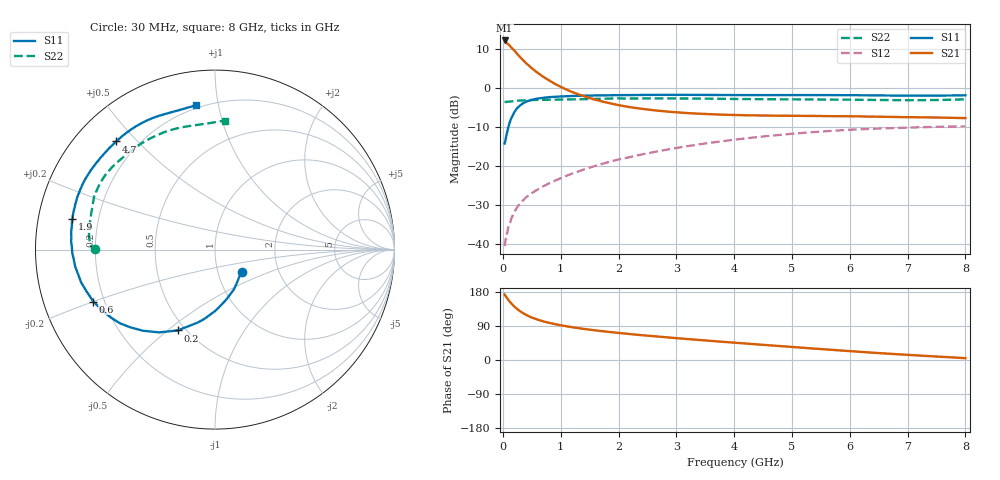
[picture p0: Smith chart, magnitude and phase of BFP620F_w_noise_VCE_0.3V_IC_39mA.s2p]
! Infineon Technologies  Discrete & RF Semiconductors
! BFP620F
! VCE =  0.3 V,  IC =  39 mA
! Common Emitter S-Parameters:  Dec 2014
# GHz  S  MA  R  50
!  f  S11  S21  S12  S22
! GHz  MAG  ANG  MAG  ANG  MAG  ANG  MAG  ANG
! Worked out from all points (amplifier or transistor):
!   95 points, 30 MHz to 8 GHz, reference 50 ohm
!   highest |S21| = 12.3 dB at 30 MHz (marker M1)
!   |S21| within 3 dB of that: start of sweep to 221.9 MHz
!   unconditionally stable (mu >= 1): start of sweep to end of sweep
!   at 300 MHz: K = 2.31, MAG = 12.3 dB, |S12| = -29.5 dB
!   at 3.3 GHz: K = 1.49, MAG = 0.0 dB, |S12| = -14.7 dB
!   at 8 GHz: K = 1.26, MAG = -2.0 dB, |S12| = -9.8 dB
!   lowest NFmin = 1.34 dB at 450 MHz
!   S11 on the Smith chart (normalised r, x): 30 MHz: 1.31, -0.33; 200 MHz: 0.45, -0.54; 600 MHz: 0.16, -0.20; 1.9 GHz: 0.10, +0.11; 4.7 GHz: 0.12, +0.44; 8 GHz: 0.18, +0.86
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0.03  0.1942 -39.0  4.117 172.8  0.0093 21.8  0.6661 179.9
0.04  0.206 -49.8  3.928 170.4  0.0105 34.8  0.6661 -179.9
0.08  0.2853 -77.2  3.737 161.6  0.0141 43.8  0.67 -179.9
0.11  0.3461 -90.7  3.576 155.6  0.0182 48.7  0.6733 -180.0
0.15  0.4181 -103.4  3.318 148.6  0.0214 50.8  0.6787 179.7
0.2  0.4962 -114.8  3.051 140.7  0.0257 53.6  0.684 179.1
0.25  0.5563 -124.0  2.748 134.2  0.0297 52.2  0.6901 178.3
0.3  0.6032 -131.4  2.502 128.4  0.0334 52.8  0.6942 177.5
0.4  0.6704 -142.3  2.101 119.2  0.0395 52.7  0.701 175.8
0.5  0.7095 -150.6  1.808 112.1  0.0447 53.0  0.7049 174.1
0.6  0.7371 -156.9  1.582 106.6  0.0498 54.1  0.708 172.5
0.7  0.753 -162.1  1.4 101.9  0.0549 54.9  0.71 170.8
0.9  0.7755 -170.0  1.138 94.7  0.0646 56.0  0.7129 167.9
1.1  0.7889 -176.0  0.96 89.0  0.0747 56.6  0.7163 164.9
1.4  0.8024 176.9  0.791 82.0  0.0901 56.8  0.7234 161.0
1.9  0.8126 167.8  0.629 73.0  0.116 55.5  0.7381 155.4
2.7  0.8217 156.5  0.513 61.6  0.1555 51.0  0.7391 148.6
4.1  0.8168 139.2  0.451 44.6  0.2221 39.8  0.7262 135.3
4.7  0.8159 132.4  0.444 37.7  0.2476 34.5  0.7213 128.3
5.4  0.8165 124.9  0.44 29.9  0.2739 27.8  0.7168 119.8
6.7  0.8057 110.9  0.428 16.4  0.3064 15.5  0.7042 103.4
8  0.8118 97.5  0.413 4.8  0.3231 4.7  0.7209 85.7
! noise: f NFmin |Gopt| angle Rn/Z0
0.45  1.34  0.14  -173  0.16
0.9  1.36  0.14  -172  0.13
1.5  1.37  0.19  -151  0.11
1.8  1.38  0.19  -151  0.12
1.9  1.39  0.19  -150  0.12
2.4  1.41  0.2  214  0.14
3.5  1.47  0.2  220  0.17
5.5  1.61  0.26  246  0.16
6  1.65  0.27  261  0.2
